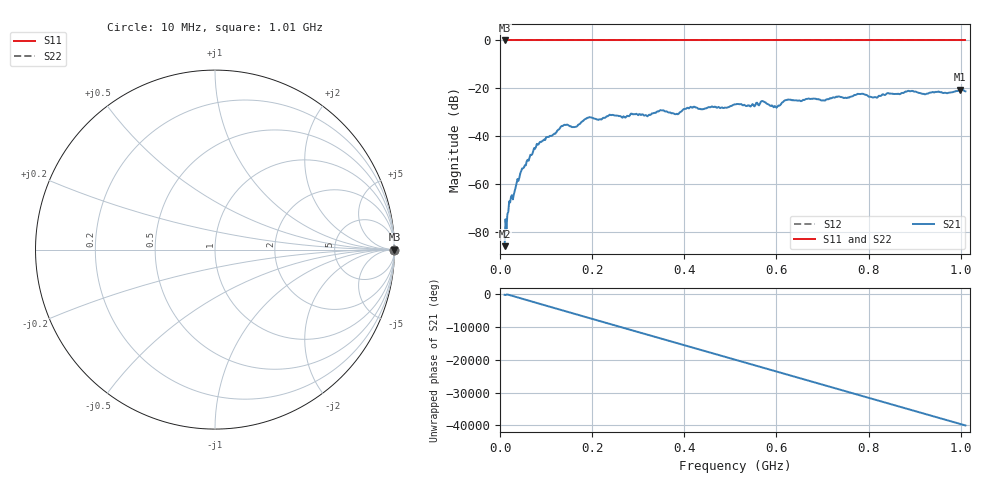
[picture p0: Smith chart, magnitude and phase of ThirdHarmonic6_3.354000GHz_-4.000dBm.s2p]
! 8/17/2025 10:35:37 AM
! C:\ANRITSUVNA\TEMP\TEMP.S2P
! CHANNEL.1
! TR.MEASUREMENT
! RAW.DATA
! RF.CORRECTION.OFF
! AVERAGING.OFF
! IF.BANDWIDTH: 5KHZ
! SWEEPTYPE:  FREQ.SWEEP(Linear)
! Reference Plane Port Info
! PORT:  PORT1  PORT2
! DISTANCE:  0  m  0  m
! TIME:  0  s  0  s
! PHASE.OFFSET:  0  deg.  0  deg.
! LOSS:  0  dB  0  dB
! REF.LOSS:  0  dB  0  dB
! REF.FREQ:  0  Hz  0  Hz
! Power Info
! POWER:  -20  dBm  -20  dBm
! EFF.POWER:  -20  dBm  -20  dBm
! SOURCE.ATTEN:  0  dB  0  dB
! TEST.ATTEN:  0  dB  0  dB
# GHZ S RI R 50.0
! FREQ.GHZ  S11RE  S11IM  S21RE  S21IM  S12RE  S12IM  S22RE  S22IM
!; PortSelection: Port_12
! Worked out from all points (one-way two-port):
!   501 points, 10 MHz to 1.01 GHz, reference 50 ohm
!   highest |S21| = -20.51 dB at 998 MHz (marker M1); lowest = -85.9 dB at 10 MHz (marker M2)
!   lowest |S11| = 0.0 dB at 10 MHz (marker M3)
!   |S11| at or under -10 dB: nowhere
!   |S22| runs from 0.0 to 0.0 dB; largest |S21 - S12| = 1.1
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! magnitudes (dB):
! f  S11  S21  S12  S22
! 10 MHz  0.0  -85.9  0.0  0.0
! 22 MHz  0.0  -67.6  0.0  0.0
! 40 MHz  0.0  -58.6  0.0  0.0
! 78 MHz  0.0  -44.4  0.0  0.0
! 136 MHz  0.0  -35.7  0.0  0.0
! 162 MHz  0.0  -36.2  0.0  0.0
! 178 MHz  0.0  -33.9  0.0  0.0
! 194 MHz  0.0  -32.0  0.0  0.0
! 318 MHz  0.0  -31.3  0.0  0.0
! 344 MHz  0.0  -29.7  0.0  0.0
! 384 MHz  0.0  -30.6  0.0  0.0
! 410 MHz  0.0  -28.4  0.0  0.0
! 510 MHz  0.0  -26.7  0.0  0.0
! 570 MHz  0.0  -25.3  0.0  0.0
! 598 MHz  0.0  -27.6  0.0  0.0
! 622 MHz  0.0  -24.9  0.0  0.0
! 678 MHz  0.0  -24.3  0.0  0.0
! 780 MHz  0.0  -22.3  0.0  0.0
! 814 MHz  0.0  -23.6  0.0  0.0
! 844 MHz  0.0  -22.1  0.0  0.0
! 998 MHz  0.0  -20.5  0.0  0.0
! 1.01 GHz  0.0  -21.2  0.0  0.0
